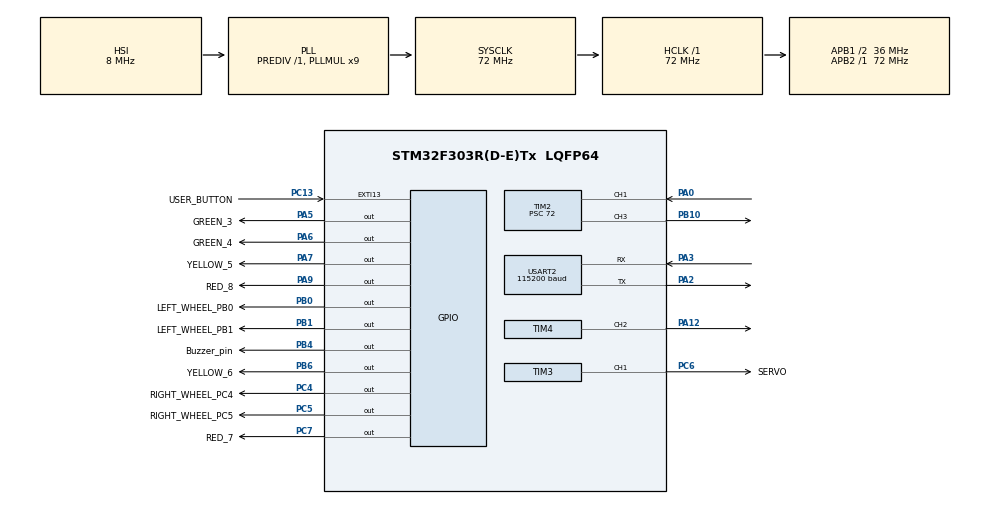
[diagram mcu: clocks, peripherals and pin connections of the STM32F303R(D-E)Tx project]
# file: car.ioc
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Mcu.Family=STM32F3
Mcu.Name=STM32F303R(D-E)Tx
Mcu.Package=LQFP64
NVIC.EXTI15_10_IRQn=true\:0\:0\:false\:false\:true\:true\:true\:true
NVIC.PriorityGroup=NVIC_PRIORITYGROUP_4
NVIC.TIM1_BRK_TIM15_IRQn=true\:0\:0\:false\:false\:true\:true\:true\:true
NVIC.TIM1_UP_TIM16_IRQn=true\:0\:0\:false\:false\:true\:true\:true\:true
PA0.Signal=S_TIM2_CH1_ETR
PA12.Signal=S_TIM4_CH2
PA13.Mode=Serial_Wire
PA13.Signal=SYS_JTMS-SWDIO
PA14.Mode=Serial_Wire
PA14.Signal=SYS_JTCK-SWCLK
PA2.Mode=Asynchronous
PA2.Signal=USART2_TX
PA3.Mode=Asynchronous
PA3.Signal=USART2_RX
PA5.GPIO_Label=GREEN_3
PA5.Signal=GPIO_Output
PA6.GPIO_Label=GREEN_4
PA6.Signal=GPIO_Output
PA7.GPIO_Label=YELLOW_5
PA7.Signal=GPIO_Output
PA9.GPIO_Label=RED_8
PA9.Signal=GPIO_Output
PB0.GPIO_Label=LEFT_WHEEL_PB0
PB0.Signal=GPIO_Output
PB1.GPIO_Label=LEFT_WHEEL_PB1
PB1.Signal=GPIO_Output
PB10.Signal=S_TIM2_CH3
PB4.GPIO_Label=Buzzer_pin
PB4.Signal=GPIO_Output
PB6.GPIO_Label=YELLOW_6
PB6.Signal=GPIO_Output
PC13.GPIO_Label=USER_BUTTON
PC13.GPIO_ModeDefaultEXTI=GPIO_MODE_IT_FALLING
PC13.Signal=GPXTI13
PC4.GPIO_Label=RIGHT_WHEEL_PC4
PC4.Signal=GPIO_Output
PC5.GPIO_Label=RIGHT_WHEEL_PC5
PC5.Signal=GPIO_Output
PC6.GPIO_Label=SERVO
PC6.Signal=S_TIM3_CH1
PC7.GPIO_Label=RED_7
PC7.Signal=GPIO_Output
ProjectManager.HeapSize=0x200
ProjectManager.StackSize=0x400
ProjectManager.TargetToolchain=STM32CubeIDE
RCC.AHBFreq_Value=72000000
RCC.APB1CLKDivider=RCC_HCLK_DIV2
RCC.APB1Freq_Value=36000000
RCC.APB1TimFreq_Value=72000000
RCC.APB2Freq_Value=72000000
RCC.APB2TimFreq_Value=72000000
RCC.CortexFreq_Value=72000000
RCC.HCLKFreq_Value=72000000
RCC.HSE_VALUE=8000000
RCC.HSI_VALUE=8000000
RCC.LSE_VALUE=32768
RCC.PLLMUL=RCC_PLL_MUL9
RCC.SYSCLKFreq_VALUE=72000000
RCC.SYSCLKSourceVirtual=RCC_SYSCLKSOURCE_PLLCLK
RCC.USBFreq_Value=72000000
SH.S_TIM2_CH1_ETR.0=TIM2_CH1,Input_Capture1_from_TI1
SH.S_TIM2_CH3.0=TIM2_CH3,PWM Generation3 CH3
SH.S_TIM3_CH1.0=TIM3_CH1,PWM Generation1 CH1
SH.S_TIM4_CH2.0=TIM4_CH2,PWM Generation2 CH2
TIM15.Period=2500-1
TIM15.Prescaler=7200-1
TIM16.Period=2500-1
TIM16.Prescaler=7200-1
TIM2.Channel-Input_Capture1_from_TI1=TIM_CHANNEL_1
TIM2.Channel-Input_Capture2_from_TI1_63=TIM_CHANNEL_2
TIM2.Channel-PWM\ Generation3\ CH3=TIM_CHANNEL_3
TIM2.ICPolarity_CH2=TIM_INPUTCHANNELPOLARITY_FALLING
TIM2.Period=1000000
TIM2.Prescaler=72
TIM2.Pulse-PWM\ Generation3\ CH3=10
TIM3.AutoReloadPreload=TIM_AUTORELOAD_PRELOAD_ENABLE
TIM3.Channel-PWM\ Generation1\ CH1=TIM_CHANNEL_1
TIM3.Period=20000-1
TIM3.Prescaler=72-1
TIM3.Pulse-PWM\ Generation1\ CH1=1000
TIM4.Channel-PWM\ Generation2\ CH2=TIM_CHANNEL_2
TIM4.Period=625-1
TIM4.Prescaler=1151-1
TIM4.Pulse-PWM\ Generation2\ CH2=0
USART2.BaudRate=115200
USART2.VirtualMode-Asynchronous=VM_ASYNC
VP_TIM15_VS_ClockSourceINT.Mode=Internal
VP_TIM16_VS_ClockSourceINT.Mode=Enable_Timer
VP_TIM2_VS_indirect_ch1.Mode=Input_Capture2_from_TI1_63
VP_TIM3_VS_ClockSourceINT.Mode=Internal
board=custom

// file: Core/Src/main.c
/* USER CODE BEGIN Header */
/**
  ******************************************************************************
  * @file           : main.c
  * @brief          : Main program body
  ******************************************************************************
  * @attention
  *
  * Copyright (c) 2023 STMicroelectronics.
  * All rights reserved.
  *
  * This software is licensed under terms that can be found in the LICENSE file
  * in the root directory of this software component.
  * If no LICENSE file comes with this software, it is provided AS-IS.
  *
  ******************************************************************************
  */
/* USER CODE END Header */
#include "main.h"

/* USER CODE BEGIN Includes */
#include <stdio.h>
#include <string.h>
#include <stdlib.h>
#include <stdbool.h>
/* USER CODE END Includes */

/* USER CODE BEGIN PD */

#define DISTANCE_PER_SEC 0.08f
#define FRONT_SENSOR_POS 55u
#define LEFT_MAX_SENSOR_POS 200u
#define RIGHT_MAX_SENSOR_POS 0u
#define GET_LEFT_STATUS 1u
#define GET_BOTH_STATUS 0u

typedef struct{
	GPIO_TypeDef *port;
	uint16_t pin;
} LED_pins;

typedef enum{
    INIT,
    IDLE,
    SAFE_DRIVE,
    OBSTACLE_DETECTED,
	TURN_EVENT,
    TURN_BACK_EVENT,

} board_process_t;

typedef enum{
	STOP,
	FORWARD,
	BACKWARD,
	TURN_RIGHT,
	TURN_LEFT

} drive_state_t;

/* USER CODE END PD */

TIM_HandleTypeDef htim2;
TIM_HandleTypeDef htim3;
TIM_HandleTypeDef htim4;
TIM_HandleTypeDef htim15;
TIM_HandleTypeDef htim16;

UART_HandleTypeDef huart2;

/* USER CODE BEGIN PV */

uint32_t ulSonicRead_Start = 0;
uint32_t ulSonicRead_Stop = 0;
float fSonicRead_Value = 0.0;
uint8_t message[50] = {0};

uint32_t tick_start = 0;
uint32_t tick_start_2 = 0;
float distance = 0.0f;

uint8_t frequency_coeff = 0;

board_process_t boardProcess = INIT;
drive_state_t	activeDriveProcess = 0;
drive_state_t	previousDriveProcess = 0;

uint8_t safe_forward = 0u;
uint8_t safe_right = 0u;
uint8_t safe_left =  0u;
uint8_t direction =  0u;

const LED_pins LED_array[6] = {
		{GREEN_3_GPIO_Port, GREEN_3_Pin},
		{GREEN_4_GPIO_Port, GREEN_4_Pin},
		{YELLOW_5_GPIO_Port, YELLOW_5_Pin},
		{YELLOW_6_GPIO_Port, YELLOW_6_Pin},
		{RED_7_GPIO_Port, RED_7_Pin},
		{RED_8_GPIO_Port, RED_8_Pin},
};

float valueArray[6] = {200.0, 50.0, 40.0, 30.0, 20.0, 10.0};

float way_table[] = {0, 0, 0, 0};
float max = 0;
uint8_t test_cnt = 0u;

int i = 0;
int n = 0;
int Index = 0;
uint32_t max_time = 1000;
int speedValue = 220;
uint8_t turn_event_handler = 0;

//TODO: add port #DONE!#, pin #DONE!# & scale values #DONE!# arrays

/* USER CODE END PV */

void SystemClock_Config(void);
static void MX_GPIO_Init(void);
static void MX_USART2_UART_Init(void);
static void MX_TIM2_Init(void);
static void MX_TIM3_Init(void);
static void MX_TIM16_Init(void);
static void MX_TIM4_Init(void);
static void MX_TIM15_Init(void);

/* USER CODE BEGIN 0 */

int __io_putchar(int ch)
{
  if (ch == '\n') {
    __io_putchar('\r');
  }

  HAL_UART_Transmit(&huart2, (uint8_t*)&ch, 1, HAL_MAX_DELAY);

  return 1;
}

void printDebugMessage(){

	memset(message, 0, sizeof message);
	sprintf((char *)message, "%.1f cm.\n", fSonicRead_Value);
	printf((char *)message);

}

void readSonicSensor(){
	ulSonicRead_Start = HAL_TIM_ReadCapturedValue(&htim2, TIM_CHANNEL_1);
	ulSonicRead_Stop = HAL_TIM_ReadCapturedValue(&htim2, TIM_CHANNEL_2);
	fSonicRead_Value = (float)((ulSonicRead_Stop - ulSonicRead_Start))/ 58.0;
}

uint8_t vSignalDistanceValue(){

	int array_size = sizeof(LED_array) / sizeof(LED_array[0]);
	bool flag = false;
	uint8_t close_obstacle = 0u;

	for (int i = 0; i < array_size; i++){
		if (fSonicRead_Value < valueArray[i]){
			flag = true; // HELP flag for buzzer control. IF car is in parking mode (at least one led is on), then flag will have been activated

			HAL_GPIO_WritePin(LED_array[i].port, LED_array[i].pin, GPIO_PIN_SET);
			frequency_coeff = i+1;
			if(i == 4){
				close_obstacle=1u;
			}
		}
		else {
			HAL_GPIO_WritePin(LED_array[i].port, LED_array[i].pin, GPIO_PIN_RESET);
		}
	}
	if (flag){ // If flag is on (parking mode), then the sound can be heard in different frequency
		if (HAL_GetTick() - tick_start_2 > (int) 1000/frequency_coeff){
			HAL_GPIO_TogglePin(Buzzer_pin_GPIO_Port, Buzzer_pin_Pin);
			tick_start_2 = HAL_GetTick();
		}
	}else {
		HAL_GPIO_WritePin(Buzzer_pin_GPIO_Port, Buzzer_pin_Pin, GPIO_PIN_RESET);
	}
	return close_obstacle;

}

void vDriveForward(){
	HAL_GPIO_WritePin(RIGHT_WHEEL_PC4_GPIO_Port, RIGHT_WHEEL_PC4_Pin, GPIO_PIN_SET);
	HAL_GPIO_WritePin(RIGHT_WHEEL_PC5_GPIO_Port, RIGHT_WHEEL_PC5_Pin, GPIO_PIN_RESET);

	HAL_GPIO_WritePin(LEFT_WHEEL_PB0_GPIO_Port, LEFT_WHEEL_PB0_Pin, GPIO_PIN_SET);
	HAL_GPIO_WritePin(LEFT_WHEEL_PB1_GPIO_Port, LEFT_WHEEL_PB1_Pin, GPIO_PIN_RESET);

}
void vDriveBackward(){
	HAL_GPIO_WritePin(RIGHT_WHEEL_PC4_GPIO_Port, RIGHT_WHEEL_PC4_Pin, GPIO_PIN_RESET);
	HAL_GPIO_WritePin(RIGHT_WHEEL_PC5_GPIO_Port, RIGHT_WHEEL_PC5_Pin, GPIO_PIN_SET);

	HAL_GPIO_WritePin(LEFT_WHEEL_PB0_GPIO_Port, LEFT_WHEEL_PB0_Pin, GPIO_PIN_RESET);
	HAL_GPIO_WritePin(LEFT_WHEEL_PB1_GPIO_Port, LEFT_WHEEL_PB1_Pin, GPIO_PIN_SET);
}

void vStopAcceleration(){
	HAL_GPIO_WritePin(RIGHT_WHEEL_PC4_GPIO_Port, RIGHT_WHEEL_PC4_Pin, GPIO_PIN_RESET);
	HAL_GPIO_WritePin(RIGHT_WHEEL_PC5_GPIO_Port, RIGHT_WHEEL_PC5_Pin, GPIO_PIN_RESET);

	HAL_GPIO_WritePin(LEFT_WHEEL_PB0_GPIO_Port, LEFT_WHEEL_PB0_Pin, GPIO_PIN_RESET);
	HAL_GPIO_WritePin(LEFT_WHEEL_PB1_GPIO_Port, LEFT_WHEEL_PB1_Pin, GPIO_PIN_RESET);
}

void vTurnLeft(){

	HAL_GPIO_WritePin(RIGHT_WHEEL_PC4_GPIO_Port, RIGHT_WHEEL_PC4_Pin, GPIO_PIN_SET);
	HAL_GPIO_WritePin(RIGHT_WHEEL_PC5_GPIO_Port, RIGHT_WHEEL_PC5_Pin, GPIO_PIN_RESET);

	HAL_GPIO_WritePin(LEFT_WHEEL_PB0_GPIO_Port, LEFT_WHEEL_PB0_Pin, GPIO_PIN_RESET);
	HAL_GPIO_WritePin(LEFT_WHEEL_PB1_GPIO_Port, LEFT_WHEEL_PB1_Pin, GPIO_PIN_RESET);

}

void vTurnRight(){

	HAL_GPIO_WritePin(RIGHT_WHEEL_PC4_GPIO_Port, RIGHT_WHEEL_PC4_Pin, GPIO_PIN_RESET);
	HAL_GPIO_WritePin(RIGHT_WHEEL_PC5_GPIO_Port, RIGHT_WHEEL_PC5_Pin, GPIO_PIN_RESET);

	HAL_GPIO_WritePin(LEFT_WHEEL_PB0_GPIO_Port, LEFT_WHEEL_PB0_Pin, GPIO_PIN_SET);
	HAL_GPIO_WritePin(LEFT_WHEEL_PB1_GPIO_Port, LEFT_WHEEL_PB1_Pin, GPIO_PIN_RESET);

}

float vDriveProc(){

		float temp_distance = 0.0f;
		switch (activeDriveProcess) {
			case FORWARD:
				vDriveForward();
				temp_distance = 0.09f;
				break;
			case BACKWARD:
				vDriveBackward();
				break;
			case TURN_RIGHT:
				vTurnRight();
				break;
			case TURN_LEFT:
				vTurnLeft();
				break;
			case STOP:
				vStopAcceleration();
				break;
			default:
				vStopAcceleration();
				break;
		}
		return temp_distance;
}

void HAL_GPIO_EXTI_Callback(uint16_t GPIO_Pin){
    if(GPIO_Pin == USER_BUTTON_Pin){
        boardProcess = SAFE_DRIVE;
    }

}

void vSetScannerPosition(const uint8_t SET_POS){
	servo_set_angle(SET_POS);
}

uint8_t usScanWithSensor(const uint8_t POSITION){
	vSetScannerPosition(POSITION);
	readSonicSensor();
	if(vSignalDistanceValue()){
		return 1u;

	} else {
		return 0u;

	}
}

uint8_t usScanForTurn(uint8_t turn_flag){

	switch (turn_flag) {
		case GET_BOTH_STATUS:
			if(!usScanWithSensor(RIGHT_MAX_SENSOR_POS)){
				return 3u;

			} else if(!usScanWithSensor(LEFT_MAX_SENSOR_POS)){
				return 4u;

			} else{
				return 0u;
			}
			break;

		case GET_LEFT_STATUS:
			if(!usScanWithSensor(LEFT_MAX_SENSOR_POS)){
				return 4u;
			} else{
				return 0u;
			}
			break;
		default:
			return 0u;
			break;
	}

}

uint8_t usScanForward(){

	if(usScanWithSensor(FRONT_SENSOR_POS)){
		return 1u;
	} else{
		return 0u;

	}
}

void vCar_Main(){

	static uint8_t turn_side = 0u;
	static float count_distance = 0.0f;

	switch (boardProcess) {
		case INIT:
			if(activeDriveProcess >= 5){
				activeDriveProcess = 0;
				vSetScannerPosition(FRONT_SENSOR_POS);
				boardProcess = IDLE;
			} else {
				activeDriveProcess++;

			}
			break;

		case IDLE:
			activeDriveProcess = STOP;
			vDriveProc();
			break;

		case SAFE_DRIVE:
//			if(usScanForward())
//			{
//				boardProcess = OBSTACLE_DETECTED;
//				activeDriveProcess = STOP;
//
//			} else{
//				activeDriveProcess = FORWARD;
//
//			}

			if(usScanForward() == 1u){
				activeDriveProcess = STOP;
				vDriveProc();
				boardProcess = IDLE;
				distance += count_distance;
				count_distance = 0.0f;
				break;

			}
			activeDriveProcess = FORWARD;
			count_distance += vDriveProc();

			if(count_distance >= 0.99f){
				activeDriveProcess = STOP;
				vDriveProc();
				boardProcess = TURN_BACK_EVENT;
				distance += count_distance;
				count_distance = 0.0f;

			}

			break;

		case TURN_BACK_EVENT:
			if(turn_side % 2 == 0){
				activeDriveProcess = TURN_RIGHT;
				vDriveProc();
				test_cnt++;
			} else{
				activeDriveProcess = TURN_LEFT;
				vDriveProc();
				test_cnt++;
			}

			if(test_cnt >= 4){
				activeDriveProcess = STOP;
				vDriveProc();
				turn_side++;
				test_cnt=0;
				boardProcess = SAFE_DRIVE;

			}

			if(turn_side >= 6){
				boardProcess = IDLE;
				turn_side=0;
			}

			break;

		case OBSTACLE_DETECTED:
			activeDriveProcess = STOP;
			vDriveProc();
			activeDriveProcess = usScanForTurn(GET_BOTH_STATUS);
			vDriveProc();
			boardProcess = TURN_EVENT;
			break;
		case TURN_EVENT:
			if(turn_event_handler ==4){
				activeDriveProcess = STOP;
				vDriveProc();
				turn_event_handler++;

			} else if(turn_event_handler >= 5 && turn_event_handler < 8){
				activeDriveProcess = FORWARD;
				vDriveProc();
				turn_event_handler++;

			} else if(turn_event_handler == 8){
				activeDriveProcess = STOP;
				vDriveProc();
				activeDriveProcess = usScanForTurn(GET_LEFT_STATUS);
				if(activeDriveProcess != TURN_LEFT){
					activeDriveProcess = FORWARD;
				} else{
					turn_event_handler++;
				}
				vDriveProc();

			} else if(turn_event_handler == 12){

				activeDriveProcess = STOP;
				vDriveProc();
				activeDriveProcess = usScanForTurn(GET_LEFT_STATUS);
				if(activeDriveProcess != TURN_LEFT){
					activeDriveProcess = FORWARD;
				} else{
					turn_event_handler++;
				}
				vDriveProc();

			}else if(turn_event_handler == 16){

				activeDriveProcess = STOP;
				vDriveProc();
				activeDriveProcess = usScanForTurn(GET_BOTH_STATUS);
				if(activeDriveProcess != TURN_RIGHT){
					activeDriveProcess = FORWARD;
				} else{
					boardProcess = SAFE_DRIVE;
					turn_event_handler = 0;
				}
				vDriveProc();

			}
			else{
			turn_event_handler++;
			}
			break;
		default:
			break;
	}

}

void HAL_TIM_PeriodElapsedCallback(TIM_HandleTypeDef *htim)
{
	static   int speedValue = 230;

	if (htim == &htim15) {

		__HAL_TIM_SET_COMPARE(&htim4, TIM_CHANNEL_2, speedValue);
		vCar_Main();

	}
}

/* USER CODE END 0 */

int main(void)
{

  /* MCU Configuration--------------------------------------------------------*/

  /* Reset of all peripherals, Initializes the Flash interface and the Systick. */
  HAL_Init();

  /* Configure the system clock */
  SystemClock_Config();

  /* Initialize all configured peripherals */
  MX_GPIO_Init();
  MX_USART2_UART_Init();
  MX_TIM2_Init();
  MX_TIM3_Init();
  MX_TIM16_Init();
  MX_TIM4_Init();
  MX_TIM15_Init();

  /* Infinite loop */
  /* USER CODE BEGIN WHILE */
  servo_init(&htim3, TIM_CHANNEL_1);
  HAL_TIM_IC_Start(&htim2, TIM_CHANNEL_1);
  HAL_TIM_IC_Start(&htim2, TIM_CHANNEL_2);
  HAL_TIM_PWM_Start(&htim2, TIM_CHANNEL_3);

  HAL_TIM_PWM_Start(&htim4, TIM_CHANNEL_2);
//  HAL_TIM_PWM_Start(&htim3, TIM_CHANNEL_1);
  HAL_TIM_Base_Start_IT(&htim15);

  while (1)
  {

	  /* USER CODE BEGIN WHILE */

    /* USER CODE END WHILE */

  }
}

void SystemClock_Config(void)
{
  RCC_OscInitTypeDef RCC_OscInitStruct = {0};
  RCC_ClkInitTypeDef RCC_ClkInitStruct = {0};
  RCC_PeriphCLKInitTypeDef PeriphClkInit = {0};

  /** Initializes the RCC Oscillators according to the specified parameters
  * in the RCC_OscInitTypeDef structure.
  */
  RCC_OscInitStruct.OscillatorType = RCC_OSCILLATORTYPE_HSI;
  RCC_OscInitStruct.HSIState = RCC_HSI_ON;
  RCC_OscInitStruct.HSICalibrationValue = RCC_HSICALIBRATION_DEFAULT;
  RCC_OscInitStruct.PLL.PLLState = RCC_PLL_ON;
  RCC_OscInitStruct.PLL.PLLSource = RCC_PLLSOURCE_HSI;
  RCC_OscInitStruct.PLL.PLLMUL = RCC_PLL_MUL9;
  RCC_OscInitStruct.PLL.PREDIV = RCC_PREDIV_DIV1;
  if (HAL_RCC_OscConfig(&RCC_OscInitStruct) != HAL_OK)
  {
    Error_Handler();
  }

  /** Initializes the CPU, AHB and APB buses clocks
  */
  RCC_ClkInitStruct.ClockType = RCC_CLOCKTYPE_HCLK|RCC_CLOCKTYPE_SYSCLK
                              |RCC_CLOCKTYPE_PCLK1|RCC_CLOCKTYPE_PCLK2;
  RCC_ClkInitStruct.SYSCLKSource = RCC_SYSCLKSOURCE_PLLCLK;
  RCC_ClkInitStruct.AHBCLKDivider = RCC_SYSCLK_DIV1;
  RCC_ClkInitStruct.APB1CLKDivider = RCC_HCLK_DIV2;
  RCC_ClkInitStruct.APB2CLKDivider = RCC_HCLK_DIV1;

  if (HAL_RCC_ClockConfig(&RCC_ClkInitStruct, FLASH_LATENCY_2) != HAL_OK)
  {
    Error_Handler();
  }
  PeriphClkInit.PeriphClockSelection = RCC_PERIPHCLK_USART2|RCC_PERIPHCLK_TIM15
                              |RCC_PERIPHCLK_TIM16|RCC_PERIPHCLK_TIM2
                              |RCC_PERIPHCLK_TIM34;
  PeriphClkInit.Usart2ClockSelection = RCC_USART2CLKSOURCE_PCLK1;
  PeriphClkInit.Tim15ClockSelection = RCC_TIM15CLK_HCLK;
  PeriphClkInit.Tim16ClockSelection = RCC_TIM16CLK_HCLK;
  PeriphClkInit.Tim2ClockSelection = RCC_TIM2CLK_HCLK;
  PeriphClkInit.Tim34ClockSelection = RCC_TIM34CLK_HCLK;
  if (HAL_RCCEx_PeriphCLKConfig(&PeriphClkInit) != HAL_OK)
  {
    Error_Handler();
  }
}

static void MX_TIM2_Init(void)
{

  TIM_MasterConfigTypeDef sMasterConfig = {0};
  TIM_IC_InitTypeDef sConfigIC = {0};
  TIM_OC_InitTypeDef sConfigOC = {0};

  htim2.Instance = TIM2;
  htim2.Init.Prescaler = 72;
  htim2.Init.CounterMode = TIM_COUNTERMODE_UP;
  htim2.Init.Period = 1000000;
  htim2.Init.ClockDivision = TIM_CLOCKDIVISION_DIV1;
  htim2.Init.AutoReloadPreload = TIM_AUTORELOAD_PRELOAD_DISABLE;
  if (HAL_TIM_IC_Init(&htim2) != HAL_OK)
  {
    Error_Handler();
  }
  if (HAL_TIM_PWM_Init(&htim2) != HAL_OK)
  {
    Error_Handler();
  }
  sMasterConfig.MasterOutputTrigger = TIM_TRGO_RESET;
  sMasterConfig.MasterSlaveMode = TIM_MASTERSLAVEMODE_DISABLE;
  if (HAL_TIMEx_MasterConfigSynchronization(&htim2, &sMasterConfig) != HAL_OK)
  {
    Error_Handler();
  }
  sConfigIC.ICPolarity = TIM_INPUTCHANNELPOLARITY_RISING;
  sConfigIC.ICSelection = TIM_ICSELECTION_DIRECTTI;
  sConfigIC.ICPrescaler = TIM_ICPSC_DIV1;
  sConfigIC.ICFilter = 0;
  if (HAL_TIM_IC_ConfigChannel(&htim2, &sConfigIC, TIM_CHANNEL_1) != HAL_OK)
  {
    Error_Handler();
  }
  sConfigIC.ICPolarity = TIM_INPUTCHANNELPOLARITY_FALLING;
  sConfigIC.ICSelection = TIM_ICSELECTION_INDIRECTTI;
  if (HAL_TIM_IC_ConfigChannel(&htim2, &sConfigIC, TIM_CHANNEL_2) != HAL_OK)
  {
    Error_Handler();
  }
  sConfigOC.OCMode = TIM_OCMODE_PWM1;
  sConfigOC.Pulse = 10;
  sConfigOC.OCPolarity = TIM_OCPOLARITY_HIGH;
  sConfigOC.OCFastMode = TIM_OCFAST_DISABLE;
  if (HAL_TIM_PWM_ConfigChannel(&htim2, &sConfigOC, TIM_CHANNEL_3) != HAL_OK)
  {
    Error_Handler();
  }
  HAL_TIM_MspPostInit(&htim2);

}

static void MX_TIM3_Init(void)
{

  TIM_ClockConfigTypeDef sClockSourceConfig = {0};
  TIM_MasterConfigTypeDef sMasterConfig = {0};
  TIM_OC_InitTypeDef sConfigOC = {0};

  htim3.Instance = TIM3;
  htim3.Init.Prescaler = 72-1;
  htim3.Init.CounterMode = TIM_COUNTERMODE_UP;
  htim3.Init.Period = 20000-1;
  htim3.Init.ClockDivision = TIM_CLOCKDIVISION_DIV1;
  htim3.Init.AutoReloadPreload = TIM_AUTORELOAD_PRELOAD_ENABLE;
  if (HAL_TIM_Base_Init(&htim3) != HAL_OK)
  {
    Error_Handler();
  }
  sClockSourceConfig.ClockSource = TIM_CLOCKSOURCE_INTERNAL;
  if (HAL_TIM_ConfigClockSource(&htim3, &sClockSourceConfig) != HAL_OK)
  {
    Error_Handler();
  }
  if (HAL_TIM_PWM_Init(&htim3) != HAL_OK)
  {
    Error_Handler();
  }
  sMasterConfig.MasterOutputTrigger = TIM_TRGO_RESET;
  sMasterConfig.MasterSlaveMode = TIM_MASTERSLAVEMODE_DISABLE;
  if (HAL_TIMEx_MasterConfigSynchronization(&htim3, &sMasterConfig) != HAL_OK)
  {
    Error_Handler();
  }
  sConfigOC.OCMode = TIM_OCMODE_PWM1;
  sConfigOC.Pulse = 1000;
  sConfigOC.OCPolarity = TIM_OCPOLARITY_HIGH;
  sConfigOC.OCFastMode = TIM_OCFAST_DISABLE;
  if (HAL_TIM_PWM_ConfigChannel(&htim3, &sConfigOC, TIM_CHANNEL_1) != HAL_OK)
  {
    Error_Handler();
  }
  HAL_TIM_MspPostInit(&htim3);

}

static void MX_TIM4_Init(void)
{

  TIM_MasterConfigTypeDef sMasterConfig = {0};
  TIM_OC_InitTypeDef sConfigOC = {0};

  htim4.Instance = TIM4;
  htim4.Init.Prescaler = 1151-1;
  htim4.Init.CounterMode = TIM_COUNTERMODE_UP;
  htim4.Init.Period = 625-1;
  htim4.Init.ClockDivision = TIM_CLOCKDIVISION_DIV1;
  htim4.Init.AutoReloadPreload = TIM_AUTORELOAD_PRELOAD_DISABLE;
  if (HAL_TIM_PWM_Init(&htim4) != HAL_OK)
  {
    Error_Handler();
  }
  sMasterConfig.MasterOutputTrigger = TIM_TRGO_RESET;
  sMasterConfig.MasterSlaveMode = TIM_MASTERSLAVEMODE_DISABLE;
  if (HAL_TIMEx_MasterConfigSynchronization(&htim4, &sMasterConfig) != HAL_OK)
  {
    Error_Handler();
  }
  sConfigOC.OCMode = TIM_OCMODE_PWM1;
  sConfigOC.Pulse = 0;
  sConfigOC.OCPolarity = TIM_OCPOLARITY_HIGH;
  sConfigOC.OCFastMode = TIM_OCFAST_DISABLE;
  if (HAL_TIM_PWM_ConfigChannel(&htim4, &sConfigOC, TIM_CHANNEL_2) != HAL_OK)
  {
    Error_Handler();
  }
  HAL_TIM_MspPostInit(&htim4);

}

static void MX_TIM15_Init(void)
{

  TIM_ClockConfigTypeDef sClockSourceConfig = {0};
  TIM_MasterConfigTypeDef sMasterConfig = {0};

  htim15.Instance = TIM15;
  htim15.Init.Prescaler = 7200-1;
  htim15.Init.CounterMode = TIM_COUNTERMODE_UP;
  htim15.Init.Period = 2500-1;
  htim15.Init.ClockDivision = TIM_CLOCKDIVISION_DIV1;
  htim15.Init.RepetitionCounter = 0;
  htim15.Init.AutoReloadPreload = TIM_AUTORELOAD_PRELOAD_DISABLE;
  if (HAL_TIM_Base_Init(&htim15) != HAL_OK)
  {
    Error_Handler();
  }
  sClockSourceConfig.ClockSource = TIM_CLOCKSOURCE_INTERNAL;
  if (HAL_TIM_ConfigClockSource(&htim15, &sClockSourceConfig) != HAL_OK)
  {
    Error_Handler();
  }
  sMasterConfig.MasterOutputTrigger = TIM_TRGO_RESET;
  sMasterConfig.MasterSlaveMode = TIM_MASTERSLAVEMODE_DISABLE;
  if (HAL_TIMEx_MasterConfigSynchronization(&htim15, &sMasterConfig) != HAL_OK)
  {
    Error_Handler();
  }

}

static void MX_TIM16_Init(void)
{

  htim16.Instance = TIM16;
  htim16.Init.Prescaler = 7200-1;
  htim16.Init.CounterMode = TIM_COUNTERMODE_UP;
  htim16.Init.Period = 2500-1;
  htim16.Init.ClockDivision = TIM_CLOCKDIVISION_DIV1;
  htim16.Init.RepetitionCounter = 0;
  htim16.Init.AutoReloadPreload = TIM_AUTORELOAD_PRELOAD_DISABLE;
  if (HAL_TIM_Base_Init(&htim16) != HAL_OK)
  {
    Error_Handler();
  }

}

static void MX_USART2_UART_Init(void)
{

  huart2.Instance = USART2;
  huart2.Init.BaudRate = 115200;
  huart2.Init.WordLength = UART_WORDLENGTH_8B;
  huart2.Init.StopBits = UART_STOPBITS_1;
  huart2.Init.Parity = UART_PARITY_NONE;
  huart2.Init.Mode = UART_MODE_TX_RX;
  huart2.Init.HwFlowCtl = UART_HWCONTROL_NONE;
  huart2.Init.OverSampling = UART_OVERSAMPLING_16;
  huart2.Init.OneBitSampling = UART_ONE_BIT_SAMPLE_DISABLE;
  huart2.AdvancedInit.AdvFeatureInit = UART_ADVFEATURE_NO_INIT;
  if (HAL_UART_Init(&huart2) != HAL_OK)
  {
    Error_Handler();
  }

}

static void MX_GPIO_Init(void)
{
  GPIO_InitTypeDef GPIO_InitStruct = {0};

  /* GPIO Ports Clock Enable */
  __HAL_RCC_GPIOC_CLK_ENABLE();
  __HAL_RCC_GPIOA_CLK_ENABLE();
  __HAL_RCC_GPIOB_CLK_ENABLE();

  /*Configure GPIO pin Output Level */
  HAL_GPIO_WritePin(GPIOA, GREEN_3_Pin|GREEN_4_Pin|YELLOW_5_Pin|RED_8_Pin, GPIO_PIN_RESET);

  /*Configure GPIO pin Output Level */
  HAL_GPIO_WritePin(GPIOC, RIGHT_WHEEL_PC4_Pin|RIGHT_WHEEL_PC5_Pin|RED_7_Pin, GPIO_PIN_RESET);

  /*Configure GPIO pin Output Level */
  HAL_GPIO_WritePin(GPIOB, LEFT_WHEEL_PB0_Pin|LEFT_WHEEL_PB1_Pin|Buzzer_pin_Pin|YELLOW_6_Pin, GPIO_PIN_RESET);

  /*Configure GPIO pin : USER_BUTTON_Pin */
  GPIO_InitStruct.Pin = USER_BUTTON_Pin;
  GPIO_InitStruct.Mode = GPIO_MODE_IT_FALLING;
  GPIO_InitStruct.Pull = GPIO_NOPULL;
  HAL_GPIO_Init(USER_BUTTON_GPIO_Port, &GPIO_InitStruct);

  /*Configure GPIO pins : GREEN_3_Pin GREEN_4_Pin YELLOW_5_Pin RED_8_Pin */
  GPIO_InitStruct.Pin = GREEN_3_Pin|GREEN_4_Pin|YELLOW_5_Pin|RED_8_Pin;
  GPIO_InitStruct.Mode = GPIO_MODE_OUTPUT_PP;
  GPIO_InitStruct.Pull = GPIO_NOPULL;
  GPIO_InitStruct.Speed = GPIO_SPEED_FREQ_LOW;
  HAL_GPIO_Init(GPIOA, &GPIO_InitStruct);

  /*Configure GPIO pins : RIGHT_WHEEL_PC4_Pin RIGHT_WHEEL_PC5_Pin RED_7_Pin */
  GPIO_InitStruct.Pin = RIGHT_WHEEL_PC4_Pin|RIGHT_WHEEL_PC5_Pin|RED_7_Pin;
  GPIO_InitStruct.Mode = GPIO_MODE_OUTPUT_PP;
  GPIO_InitStruct.Pull = GPIO_NOPULL;
  GPIO_InitStruct.Speed = GPIO_SPEED_FREQ_LOW;
  HAL_GPIO_Init(GPIOC, &GPIO_InitStruct);

  /*Configure GPIO pins : LEFT_WHEEL_PB0_Pin LEFT_WHEEL_PB1_Pin Buzzer_pin_Pin YELLOW_6_Pin */
  GPIO_InitStruct.Pin = LEFT_WHEEL_PB0_Pin|LEFT_WHEEL_PB1_Pin|Buzzer_pin_Pin|YELLOW_6_Pin;
  GPIO_InitStruct.Mode = GPIO_MODE_OUTPUT_PP;
  GPIO_InitStruct.Pull = GPIO_NOPULL;
  GPIO_InitStruct.Speed = GPIO_SPEED_FREQ_LOW;
  HAL_GPIO_Init(GPIOB, &GPIO_InitStruct);

  /* EXTI interrupt init*/
  HAL_NVIC_SetPriority(EXTI15_10_IRQn, 0, 0);
  HAL_NVIC_EnableIRQ(EXTI15_10_IRQn);

}

void Error_Handler(void)
{
  __disable_irq();
  while (1)
  {
  }
}
